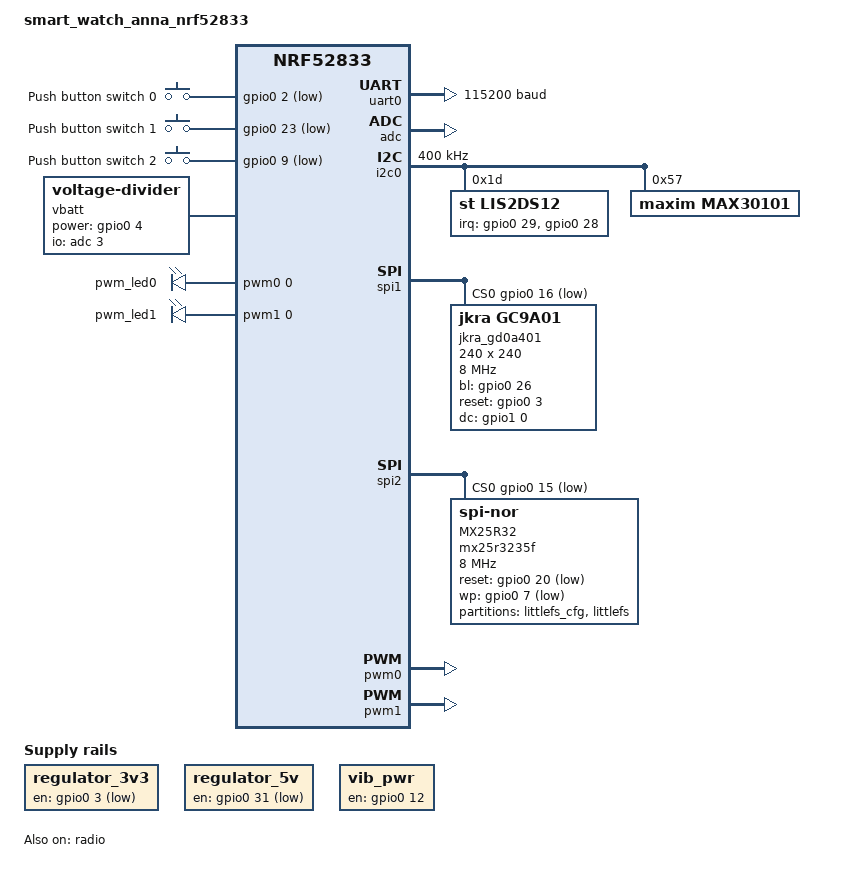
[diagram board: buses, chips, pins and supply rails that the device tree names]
// Copyright (c) 2022 Nordic Semiconductor ASA
// SPDX-License-Identifier: Apache-2.0

/dts-v1/;
#include <nordic/nrf52833_qiaa.dtsi>
#include "smart_watch_anna_nrf52833-pinctrl.dtsi"

/ {
	model = "smart_watch_anna_nrf52833";
	compatible = "jakob-krantz,smart-watch-anna-nrf52833";

	chosen {
		zephyr,console = &uart0;
		zephyr,sram = &sram0;
		zephyr,flash = &flash0;
		zephyr,display = &gc9a01;
		zephyr,code-partition = &slot0_partition;
	};

	// TODO change to watch buttons
	buttons {
		compatible = "gpio-keys";
		button0: button_0 {
			gpios = <&gpio0 2 (GPIO_PULL_UP | GPIO_ACTIVE_LOW)>;
			label = "Push button switch 0";
		};
		button1: button_1 {
			gpios = <&gpio0 23 (GPIO_PULL_UP | GPIO_ACTIVE_LOW)>;
			label = "Push button switch 1";
		};
		button2: button2 {
			gpios = <&gpio0 9 (GPIO_PULL_UP | GPIO_ACTIVE_LOW)>;
			label = "Push button switch 2";
		};
	};
	
	vbatt {
		compatible = "voltage-divider";
		io-channels = <&adc 3>;
		output-ohms = <220000>;
		full-ohms = <(1500000 + 220000)>;
		power-gpios = <&gpio0 4 0>;
	};

	regulator_3v3: regulator-3v3-ctrl {
		compatible = "regulator-fixed-sync", "regulator-fixed";
		label = "vsys-3v3-ctrl";
		regulator-name = "display";
		enable-gpios = <&gpio0 3 GPIO_ACTIVE_LOW>;
		regulator-boot-on;
	};

	regulator_5v: regulator-5v-ctrl {
		compatible = "regulator-fixed-sync", "regulator-fixed";
		label = "vsys-5v-ctrl";
		regulator-name = "max30101";
		enable-gpios = <&gpio0 31 GPIO_ACTIVE_LOW>;
		regulator-boot-on;
	};
	vib_pwr: vib-pwr-ctrl {
		compatible = "regulator-fixed";
		label = "vib-pwr-ctrl";
		regulator-name = "vib-pwr-ctrl";
		enable-gpios = <&gpio0 12 GPIO_ACTIVE_HIGH>;
	};

	pwmleds {
		compatible = "pwm-leds";
		pwm_led0: pwm_led_0 {
			pwms = <&pwm0 0 PWM_MSEC(20) 0>;
		};
		pwm_led1: pwm_led_1 {
			pwms = <&pwm1 0 PWM_MSEC(20) 0>;
		};
	};
	/*
	fstab {
		compatible = "zephyr,fstab";
		lfs: lfs {
		  compatible = "zephyr,fstab,littlefs";
		  mount-point = "/lfs";
		  partition = <&lfs1_part>;
		  read-size = <16>;
		  prog-size = <16>;
		  cache-size = <64>;
		  lookahead-size = <32>;
		  block-cycles = <512>;
		};
	  };
	*/
	aliases {
		sw0 = &button0;
		sw1 = &button1;
		sw2 = &button2;
		accelerometer = &lis2ds12;
		pwm-led0 = &pwm_led0;
		pwm-led1 = &pwm_led1;
	};
};

&uart0 {
	compatible = "nordic,nrf-uart";
	status = "okay";
	current-speed = <115200>;
	pinctrl-0 = <&uart0_default>;
	pinctrl-1 = <&uart0_sleep>;
	pinctrl-names = "default", "sleep";
};

&gpio0 {
	status = "okay";
};

&gpio1 {
	status = "okay";
};

&adc {
	status = "okay";
};

&i2c0 {
	compatible = "nordic,nrf-twim";
	status = "okay";
	clock-frequency = <I2C_BITRATE_FAST>;

	pinctrl-0 = <&i2c0_default>;
	pinctrl-1 = <&i2c0_sleep>;
	pinctrl-names = "default", "sleep";
	lis2ds12: lis2ds12@1D {
		compatible = "st,lis2ds12", "st,lis2ds";
		label = "lis2ds12";
		reg = <0x1D>;
		irq-gpios = <&gpio0 29 GPIO_ACTIVE_HIGH &gpio0 28 GPIO_ACTIVE_HIGH>;
	};
	max30101@57 {
		status = "okay";
		compatible = "maxim,max30101";
		reg = <0x57>;
		label = "MAX30101";
	};
};

&spi1  {
	status = "okay";
	compatible = "nordic,nrf-spi";
	pinctrl-0 = <&spi1_default>;
	pinctrl-1 = <&spi1_sleep>;
	pinctrl-names = "default", "sleep";
	cs-gpios = <&gpio0 16 GPIO_ACTIVE_LOW>;//,	/* D4 */
	//<&arduino_header 10 GPIO_ACTIVE_LOW>;	/* D04 */
	//sck-pin = < 12 >;
	//miso-pin = < 14 >;
	//mosi-pin = < 18 >;
	//cs-gpios = < &gpio0 15 GPIO_ACTIVE_LOW >;
	gc9a01: gc9a01@0 {
		compatible = "jkra,gc9a01";
		status = "okay";
		spi-max-frequency = <8000000>;
		reg = <0>;
		width = <240>;
		label = "jkra_gd0a401";
		height = <240>;
		//bl-gpios = <&arduino_header 7 GPIO_ACTIVE_LOW>;	/* D1 */
		bl-gpios = <&gpio0 26 GPIO_ACTIVE_HIGH>;	/* NOT WORKING */
		reset-gpios = <&gpio0 3 GPIO_ACTIVE_HIGH>;	/* A0 */
		dc-gpios = <&gpio1 0 GPIO_ACTIVE_HIGH>;		/* D8 */
		//reset-gpios = <&gpio0 11 GPIO_ACTIVE_LOW>;
		//pixel-format = <ILI9XXX_PIXEL_FORMAT_RGB888>;
		//rotation = <90>;
		//frmctr1 = [00 18];
		//pwctrl1 = [23 00];
		//vmctrl1 = [3e 28];
		//vmctrl2 = [86];
		//pgamctrl = [0f 31 2b 0c 0e 08 4e f1 37 07 10 03 0e 09 00];
		//ngamctrl = [00 0e 14 03 11 07 31 c1 48 08 0f 0c 31 36 0f];
	};

};

&spi2 {
	status = "okay";
	pinctrl-0 = <&spi2_default>;
	pinctrl-1 = <&spi2_sleep>;
	pinctrl-names = "default", "sleep";
	cs-gpios = <&gpio0 15 GPIO_ACTIVE_LOW>;
	mx25r32: mx25r3235f@0 {
		compatible = "jedec,spi-nor";
		reg = <0>;
		spi-max-frequency = <8000000>;
		label = "MX25R32";
		size = <33554432>;
		jedec-id = [c2 28 16];
		/*
		sfdp-bfp = [
			e5 20 f1 ff  ff ff ff 03  44 eb 08 6b  08 3b 04 bb
			ee ff ff ff  ff ff 00 ff  ff ff 00 ff  0c 20 0f 52
			10 d8 00 ff  23 72 f5 00  82 ed 04 cc  44 83 68 44
			30 b0 30 b0  f7 c4 d5 5c  00 be 29 ff  f0 d0 ff ff
		];
		has-dpd;
		t-enter-dpd = <10000>;
		t-exit-dpd = <35000>;*/
		reset-gpios = <&gpio0 20 (GPIO_ACTIVE_LOW | GPIO_PULL_UP)>;
		wp-gpios = <&gpio0 7 GPIO_ACTIVE_LOW>;
	};
};

&pwm0 {
	status = "okay";
	pinctrl-0 = <&pwm0_default>;
	pinctrl-1 = <&pwm0_sleep>;
	pinctrl-names = "default", "sleep";
};

&pwm1 {
	status = "okay";
	pinctrl-0 = <&pwm1_default>;
	pinctrl-1 = <&pwm1_sleep>;
	pinctrl-names = "default", "sleep";
};

&flash0 {
	partitions {
		compatible = "fixed-partitions";
		#address-cells = <1>;
		#size-cells = <1>;

		boot_partition: partition@0 {
			label = "mcuboot";
			reg = <0x0 0xc000>;
		};
		slot0_partition: partition@c000 {
			label = "image-0";
			reg = <0xc000 0x32000>;
		};
		slot1_partition: partition@3e000 {
			label = "image-1";
			reg = <0x3e000 0x32000>;
		};
		scratch_partition: partition@70000 {
			label = "image-scratch";
			reg = <0x70000 0xe000>;
		};
		storage_partition: partition@7e000 {
			label = "storage";
			reg = <0x7e000 0x2000>;
		};
	};
};

&mx25r32 {
	partitions {
		compatible = "fixed-partitions";
		#address-cells = <1>;
		#size-cells = <1>;

		partition_cfg: partition@0 {
			label = "littlefs_cfg";
			reg = <0x00000000 0x000010000>;
		};
		partition_lfs: partition@10000 {
			label = "littlefs";
			reg = <0x000010000 0x00080000>;
		};
	};
};

// Zephyr gets mad if this is not set, even thought we don't do any switching
&radio {
	status = "okay";
	dfe-antenna-num = <10>;
	dfe-pdu-antenna = <0x1>;
	dfegpio0-gpios = <&gpio1 1 0>;
	dfegpio1-gpios = <&gpio1 1 0>;
	dfegpio2-gpios = <&gpio1 1 0>;
	dfegpio3-gpios = <&gpio1 1 0>;
};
